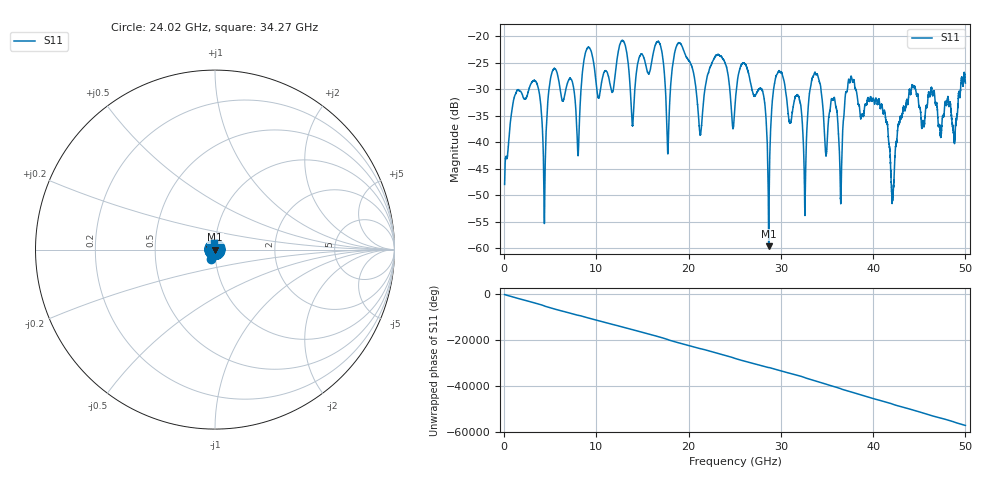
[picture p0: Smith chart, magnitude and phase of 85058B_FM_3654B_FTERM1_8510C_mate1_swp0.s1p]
!Created with skrf (http://scikit-rf.org).
# Hz S RI R 50.0
!freq ReS11 ImS11
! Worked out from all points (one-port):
!   10001 points, 45 MHz to 50 GHz, reference 50 ohm
!   lowest |S11| = -59.7 dB at 28.67 GHz (marker M1), VSWR 1.00, Z = 50.1 + j0.00546 ohm
!   |S11| at or under -10 dB: start of sweep to end of sweep
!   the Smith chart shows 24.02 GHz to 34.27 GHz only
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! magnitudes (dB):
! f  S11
! 45 MHz  -48.0
! 1.364 GHz  -30.3
! 3.527 GHz  -28.9
! 4.346 GHz  -55.0
! 5.175 GHz  -26.8
! 6.289 GHz  -32.2
! 7.993 GHz  -42.3
! 8.962 GHz  -22.4
! 12.53 GHz  -21.6
! 13.92 GHz  -36.9
! 16.78 GHz  -21.1
! 17.75 GHz  -42.0
! 18.78 GHz  -21.5
! 21.25 GHz  -38.6
! 23.06 GHz  -23.6
! 25.02 GHz  -33.1
! 27.89 GHz  -30.0
! 28.67 GHz  -59.7
! 29.6 GHz  -27.1
! 31.27 GHz  -33.9
! 32.61 GHz  -53.9
! 33.85 GHz  -27.2
! 36.47 GHz  -50.5
! 37.51 GHz  -28.5
! 41.09 GHz  -34.5
! 42.1 GHz  -49.7
! 43.76 GHz  -32.7
! 50 GHz  -28.8
